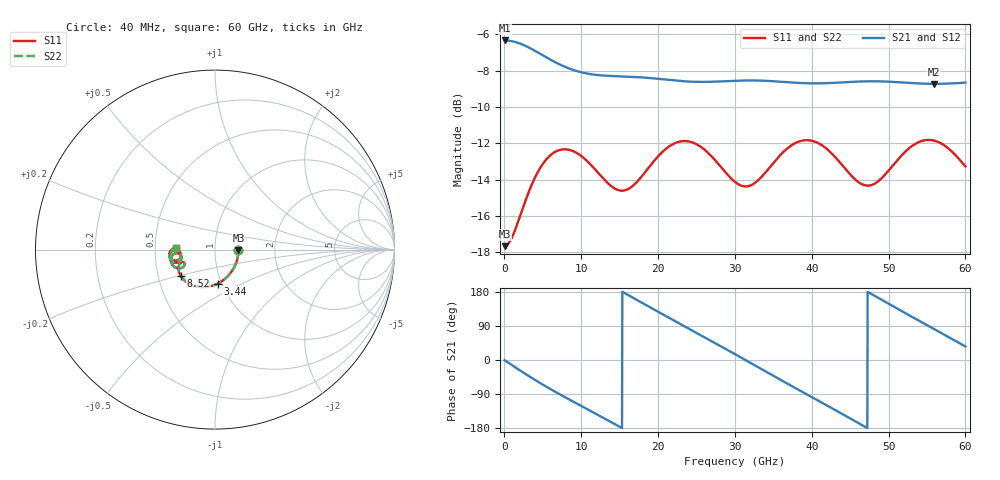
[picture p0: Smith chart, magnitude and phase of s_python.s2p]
! Created with skrf (http://scikit-rf.org).
# Hz S MA R 50.0
!freq magS11 angS11 magS21 angS21 magS12 angS12 magS22 angS22
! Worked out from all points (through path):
!   1500 points, 40 MHz to 60 GHz, reference 50 ohm
!   highest |S21| = -6.34 dB at 40 MHz (marker M1); lowest = -8.7 dB at 55.96 GHz (marker M2)
!   group delay of S21, straight-line fit = 31.4 ps
!   lowest |S11| = -17.7 dB at 40 MHz (marker M3), VSWR 1.30, Z = 65 - j0.383 ohm
!   |S11| at or under -10 dB: start of sweep to end of sweep
!   |S22| runs from -17.7 to -11.8 dB; largest |S21 - S12| = 5.5e-16
!   S11 on the Smith chart (normalised r, x): 40 MHz: 1.30, -0.01; 3.44 GHz: 0.96, -0.38; 8.52 GHz: 0.66, -0.21; 60 GHz: 0.64, +0.01
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4e7  0.1308 -1.3  0.482 -0.5  0.482 -0.5  0.1308 -1.3
3.44e9  0.1903 -85.7  0.458 -45.7  0.458 -45.7  0.1903 -85.7
5.8e9  0.2308 -117.9  0.4292 -74.3  0.4292 -74.3  0.2308 -117.9
8.52e9  0.2407 -142.1  0.4029 -105.0  0.4029 -105.0  0.2407 -142.1
1.004e10  0.2315 -151.3  0.3938 -121.6  0.3938 -121.6  0.2315 -151.3
1.272e10  0.2026 -159.2  0.3861 -150.7  0.3861 -150.7  0.2026 -159.2
1.516e10  0.1861 -156.5  0.384 -177.8  0.384 -177.8  0.1861 -156.5
1.748e10  0.1989 -151.6  0.382 156.0  0.382 156.0  0.1989 -151.6
2.004e10  0.2315 -153.3  0.3778 127.0  0.3778 127.0  0.2315 -153.3
2.24e10  0.2523 -160.2  0.3734 100.5  0.3734 100.5  0.2523 -160.2
2.48e10  0.2509 -168.4  0.3708 73.9  0.3708 73.9  0.2509 -168.4
3.004e10  0.1964 -172.2  0.3733 15.2  0.3733 15.2  0.1964 -172.2
3.424e10  0.2118 -160.9  0.373 -32.9  0.373 -32.9  0.2118 -160.9
3.72e10  0.2465 -164.1  0.3694 -66.5  0.3694 -66.5  0.2465 -164.1
4.004e10  0.2551 -172.4  0.3672 -98.3  0.3672 -98.3  0.2551 -172.4
4.264e10  0.2351 -178.6  0.3681 -127.3  0.3681 -127.3  0.2351 -178.6
4.552e10  0.2009 -177.6  0.371 -160.0  0.371 -160.0  0.2009 -177.6
4.776e10  0.1927 -170.2  0.3721 174.3  0.3721 174.3  0.1927 -170.2
5.004e10  0.2117 -164.5  0.3711 148.1  0.3711 148.1  0.2117 -164.5
5.308e10  0.2471 -167.2  0.3677 113.5  0.3677 113.5  0.2471 -167.2
5.596e10  0.2553 -175.2  0.3661 81.2  0.3661 81.2  0.2553 -175.2
6e10  0.2168 178.3  0.3689 35.8  0.3689 35.8  0.2168 178.3
